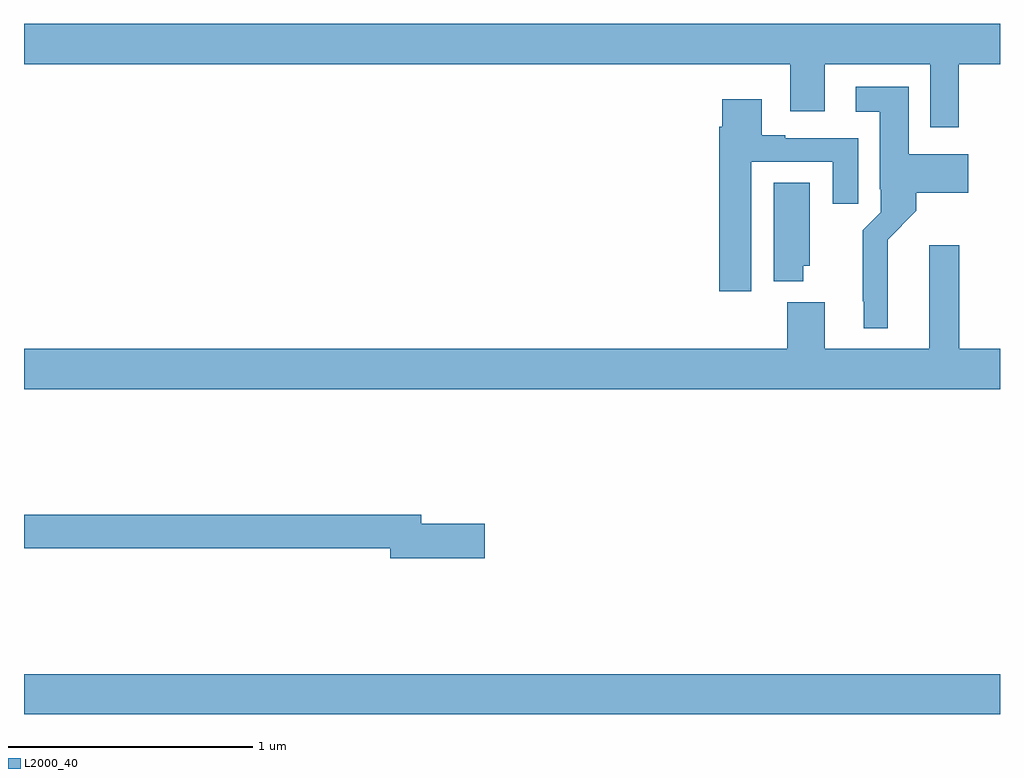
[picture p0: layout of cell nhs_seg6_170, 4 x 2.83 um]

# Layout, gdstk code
import gdstk
lib = gdstk.Library(unit=1e-6, precision=1e-09)
def R(c, l, rs):  # rectangles x0, y0, x1, y1
    for r in rs: c.add(gdstk.rectangle(r[:2], r[2:], *l))
def P(c, l, *ps):  # polygons
    for p in ps: c.add(gdstk.Polygon(p, *l))
L2000_40 = (2000, 40)

nhs_seg6_170 = lib.new_cell('nhs_seg6_170')
R(nhs_seg6_170, L2000_40, [(119,950,123,950.164)])
P(nhs_seg6_170, L2000_40, [(122.831,952.664),(123,952.664),(123,952.828),(119,952.828),(119,952.664),(122.141,952.664),(122.141,952.47),(122.281,952.47),(122.281,952.664),(122.715,952.664),(122.715,952.404),(122.831,952.404)],
  [(122.539,951.944),(122.657,952.062),(122.657,952.136),(122.869,952.136),(122.869,952.294),(122.626,952.294),(122.626,952.57),(122.409,952.57),(122.409,952.469),(122.507,952.469),(122.507,952.15),(122.511,952.15),(122.511,952.056),(122.437,951.982),(122.437,951.691),(122.441,951.691),(122.441,951.581),(122.539,951.581)],
  [(121.981,952.263),(122.315,952.263),(122.315,952.092),(122.419,952.092),(122.419,952.359),(122.119,952.359),(122.119,952.372),(122.023,952.372),(122.023,952.519),(121.862,952.519),(121.862,952.406),(121.85,952.406),(121.85,951.732),(121.981,951.732)],
  [(122.194,951.837),(122.221,951.837),(122.221,952.178),(122.072,952.178),(122.072,951.773),(122.194,951.773)],
  [(123,951.496),(122.834,951.496),(122.834,951.922),(122.711,951.922),(122.711,951.496),(122.281,951.496),(122.281,951.688),(122.129,951.688),(122.129,951.496),(119,951.496),(119,951.332),(123,951.332)],
  [(120.889,950.78),(120.628,950.78),(120.628,950.816),(119,950.816),(119,950.68),(120.5,950.68),(120.5,950.638),(120.889,950.638)])

lib.write_gds('nhs_seg6_170.gds')
